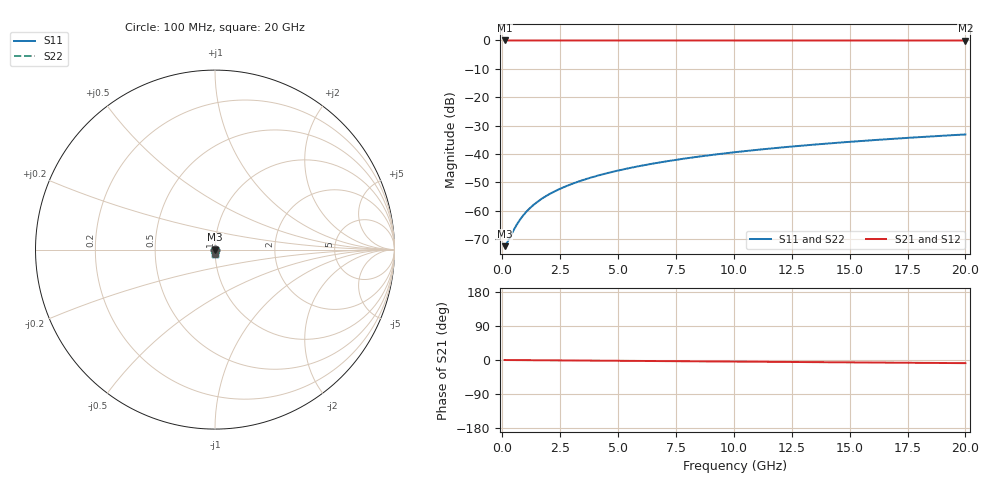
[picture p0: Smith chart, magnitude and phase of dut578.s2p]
! Touchstone file exported from HFSS 2026.1.0
!  File:  C:/ffzhzh/LocalFiles/Ansys_Project_Files/temp_train_TSV_578_1783024933_53980.aedt
!  Generated:  04:44:04 AM Jul  3, 2026
!  Design:  TSV
!  Project:  temp_train_TSV_578_1783024933_53980
! Variables:
!  h_bsmrdl = 2um
!  h_ox = 20um
!  h_rdl = 5um
!  h_sub = 88.22um
!  h_tmrdl = 5um
!  h_tsv = 88.22um
!  h_via = 3um
!  l_bsmrdl = 300um
!  l_sub = 414.66um
!  l_tmrdl = 200um
!  m_sub = 200um
!  pitch = 25.71um
!  r_tsv = 7.33um
!  s_tmrdl = 10um
!  w_bsmrdl = 18um
!  w_sub = 500um
!  w_tmrdl = 12um
!  x_tsv_center1 = 206um
!  x_tsv_center2 = 524um
!  x_tsv_center3 = 736um
!  x_tsv_center4 = 1054um
!  x_tsv_center5 = 1266um
!  x_tsv_center6 = 1584um
# GHz S MA R 50.000000
! Terminal data exported
! Port[1] = TSV1_1_T1
! Port[2] = TSV1_1_T2
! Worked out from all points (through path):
!   200 points, 100 MHz to 20 GHz, reference 50 ohm
!   highest |S21| = 0.00 dB at 100 MHz (marker M1); lowest = 0.0 dB at 20 GHz (marker M2)
!   group delay of S21, straight-line fit = 1.15 ps
!   lowest |S11| = -72.4 dB at 100 MHz (marker M3), VSWR 1.00, Z = 50 - j0.00513 ohm
!   |S11| at or under -10 dB: start of sweep to end of sweep
!   |S22| runs from -72.4 to -33.1 dB; largest |S21 - S12| = 1.1e-15
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0.1  0.0002394 -12.4  0.9998 -0.0  0.9998 -0.0  0.0002394 -12.4
! Gamma 0 0 0 0
! Port Impedance 50 0 50 0
0.2  0.0002729 -23.1  0.9997 -0.1  0.9997 -0.1  0.0002729 -23.1
0.5  0.0004666 -43.6  0.9997 -0.2  0.9997 -0.2  0.0004666 -43.6
0.6  0.0005507 -48.0  0.9996 -0.3  0.9996 -0.3  0.0005507 -48.0
0.8  0.0007333 -54.7  0.9996 -0.3  0.9996 -0.3  0.0007333 -54.7
0.9  0.0008291 -57.4  0.9995 -0.4  0.9995 -0.4  0.0008291 -57.4
1.1  0.001026 -61.7  0.9995 -0.5  0.9995 -0.5  0.001026 -61.7
1.4  0.001327 -66.4  0.9995 -0.6  0.9995 -0.6  0.001327 -66.4
1.8  0.001734 -70.5  0.9994 -0.8  0.9994 -0.8  0.001734 -70.5
2.3  0.002248 -73.9  0.9993 -1.0  0.9993 -1.0  0.002248 -73.9
2.9  0.002874 -76.6  0.9993 -1.2  0.9993 -1.2  0.002874 -76.6
3.5  0.003509 -78.4  0.9992 -1.5  0.9992 -1.5  0.003509 -78.4
4.2  0.004261 -80.0  0.9991 -1.8  0.9991 -1.8  0.004261 -80.0
5  0.005133 -81.4  0.999 -2.1  0.999 -2.1  0.005133 -81.4
5.9  0.006127 -82.7  0.9989 -2.5  0.9989 -2.5  0.006127 -82.7
6.8  0.007131 -83.8  0.9988 -2.9  0.9988 -2.9  0.007131 -83.8
8.3  0.008817 -85.4  0.9987 -3.5  0.9987 -3.5  0.008817 -85.4
10.1  0.01085 -87.0  0.9986 -4.2  0.9986 -4.2  0.01085 -87.0
11.7  0.01267 -88.2  0.9984 -4.9  0.9984 -4.9  0.01267 -88.2
13.4  0.0146 -89.4  0.9983 -5.6  0.9983 -5.6  0.0146 -89.4
16.7  0.01837 -91.5  0.9981 -7.0  0.9981 -7.0  0.01837 -91.5
20  0.02217 -93.3  0.9978 -8.3  0.9978 -8.3  0.02217 -93.3
